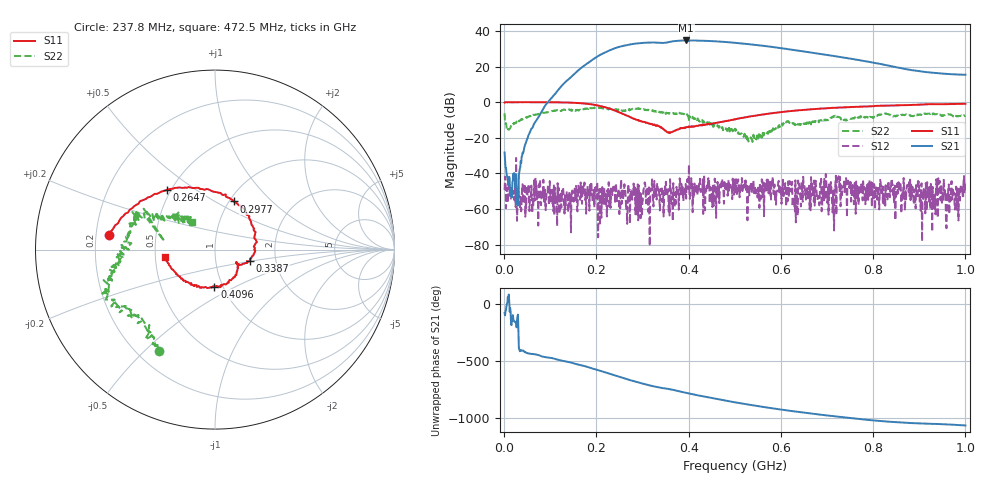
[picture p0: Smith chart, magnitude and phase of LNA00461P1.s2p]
! Created with skrf 1.9.0 (http://scikit-rf.org).
# Hz S RI R 50.0
!freq ReS11 ImS11 ReS21 ImS21 ReS12 ImS12 ReS22 ImS22
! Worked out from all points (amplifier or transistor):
!   1001 points, 1 MHz to 1 GHz, reference 50 ohm
!   highest |S21| = 34.7 dB at 394.6 MHz (marker M1)
!   |S21| within 3 dB of that: 259.2 MHz to 561.2 MHz (302 MHz wide, 73.6 % of centre)
!   unconditionally stable (mu >= 1): 4.541 MHz to 25.44 MHz; 227 MHz to 400.5 MHz; 400.7 MHz to end of sweep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
!   at 166.8 MHz: K = 1.82, MAG = 31.1 dB, |S12| = -53.5 dB
!   at 500.5 MHz: K = 1.51, MAG = 33.9 dB, |S12| = -42.9 dB
!   at 1 GHz: K = 2.53, MAG = 23.4 dB, |S12| = -45.1 dB
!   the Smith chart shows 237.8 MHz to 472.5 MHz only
!   S11 on the Smith chart (normalised r, x): 237.8 MHz: 0.25, +0.06; 264.7 MHz: 0.47, +0.39; 297.7 MHz: 1.05, +0.61; 338.7 MHz: 1.47, -0.19; 409.6 MHz: 0.91, -0.40; 472.5 MHz: 0.56, -0.05
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1000000  0.9755 0.000741  0.0103 -0.0373  0.00215 0.00265  0.3876 0.2971
1.08892e8  0.5296 -0.8424  -0.7738 -1.443  0.00046 -0.000467  0.4173 -0.3904
1.67833e8  -0.2227 -0.9056  -9.4 -0.572  0.0031 0.000207  0.0252 -0.6506
2.08792e8  -0.6669 -0.4133  -15.17 15.44  -0.00362 -0.000279  -0.2232 -0.6531
2.37763e8  -0.5897 0.0815  -3.883 31.91  0.00248 -0.00186  -0.3146 -0.564
2.64736e8  -0.2695 0.3325  17.87 35.86  0.000803 0.000507  -0.475 -0.3662
2.97703e8  0.1039 0.2684  41.61 19.46  -0.00237 -0.000131  -0.592 -0.2348
3.16684e8  0.2138 0.1213  47.24 4.523  0.000101 0.00212  -0.559 -0.1206
3.34666e8  0.2144 -0.0314  46.21 -9.104  -0.00313 0.00263  -0.5263 -0.02
3.38662e8  0.1949 -0.0613  45.05 -11.47  -0.000388 0.0036  -0.5084 -0.0261
3.68632e8  0.128 -0.09  42.73 -29.92  0.00111 0.00125  -0.4486 0.1635
3.94606e8  0.0707 -0.1832  27.7 -46.85  0.00131 0.00144  -0.3944 0.1906
4.09591e8  -0.00304 -0.2082  16.61 -51.58  0.0019 0.00365  -0.3027 0.1764
4.39561e8  -0.1572 -0.1794  -6.483 -52.43  0.00221 0.00276  -0.184 0.1813
4.72528e8  -0.2779 -0.0439  -26.24 -42.26  0.00705 0.000671  -0.1307 0.1519
5.005e8  -0.3058 0.1134  -37.32 -28.45  -0.00187 -0.00692  -0.1547 0.0914
5.39461e8  -0.2451 0.3268  -40.8 -7.806  0.00336 -0.00247  -0.0854 -0.000667
5.85415e8  -0.0561 0.4978  -33.53 10.95  0.00417 -0.00176  -0.1607 -0.0568
6.67333e8  0.34 0.5359  -11.14 21.87  0.00539 -0.00249  -0.2694 -0.018
7.53247e8  0.6379 0.3616  3.602 16.14  -0.00193 -0.000912  -0.335 0.0713
8.34166e8  0.7912 0.1306  7.306 7.707  -0.00261 -0.00289  -0.4305 0.1523
1e9  0.8027 -0.4139  5.765 1.349  -0.00552 -0.000717  -0.1132 0.3975
